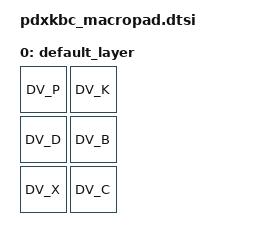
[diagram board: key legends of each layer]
#include <behaviors.dtsi>
#include <dt-bindings/zmk/keys.h>
#include "dvorak-defines.h"

/ {
    keymap {
        compatible = "zmk,keymap";
        
        default_layer {
            bindings = <
                &kp DV_P &kp DV_K
                &kp DV_D &kp DV_B
                &kp DV_X &kp DV_C
            >;
        };
    };
};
